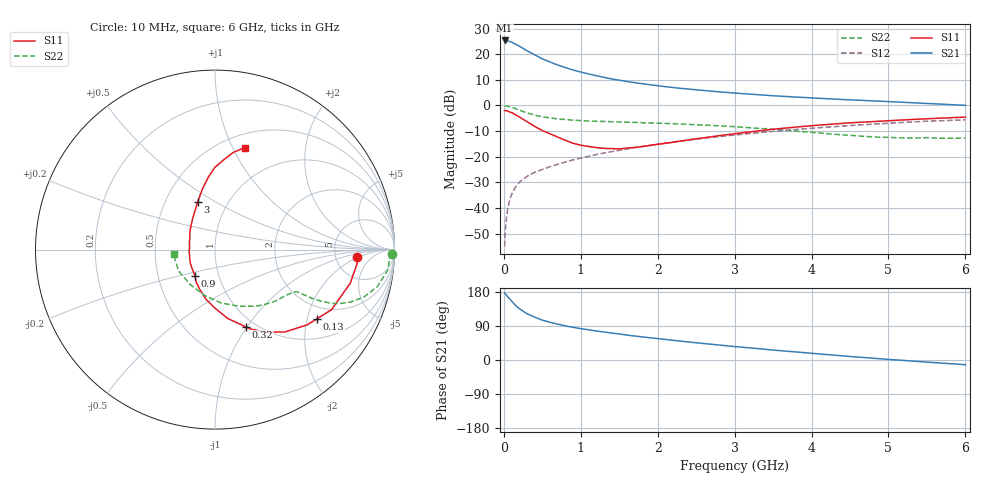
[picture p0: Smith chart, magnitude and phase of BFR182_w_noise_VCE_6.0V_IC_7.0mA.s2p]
! Infineon Technologies  Discrete & RF Semiconductors
! BFR182
! VCE =  6.0 V,  IC =  7.0 mA
! Common Emitter S-Parameters:  Nov 2015
# GHz  S  MA  R  50
!  f  S11  S21  S12  S22
! GHz  MAG  ANG  MAG  ANG  MAG  ANG  MAG  ANG
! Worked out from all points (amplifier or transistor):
!   210 points, 10 MHz to 6 GHz, reference 50 ohm
!   highest |S21| = 25.4 dB at 10 MHz (marker M1)
!   |S21| within 3 dB of that: start of sweep to 243.9 MHz
!   unconditionally stable (mu >= 1): 954.1 MHz to 2.833 GHz
!   at 185 MHz: K = 0.41, MSG = 27.0 dB, |S12| = -30.6 dB
!   at 1.52 GHz: K = 1.05, MAG = 12.2 dB, |S12| = -17.4 dB
!   at 6 GHz: K = 0.89, MSG = 2.8 dB, |S12| = -5.6 dB
!   lowest NFmin = 1.30 dB at 450 MHz
!   S11 on the Smith chart (normalised r, x): 10 MHz: 8.27, -1.72; 130 MHz: 1.58, -2.30; 320 MHz: 0.90, -0.99; 900 MHz: 0.77, -0.23; 3 GHz: 0.72, +0.41; 6 GHz: 0.64, +1.11
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0.01  0.7925 -2.8  18.52 177.1  0.0018 88.1  0.9866 -1.3
0.025  0.7915 -7.0  18.26 173.2  0.0047 84.9  0.9735 -3.4
0.05  0.7764 -14.0  18.27 167.1  0.0095 80.0  0.9695 -6.8
0.1  0.7305 -27.3  17.23 155.5  0.0183 76.2  0.9275 -12.9
0.13  0.6868 -34.1  16.31 149.0  0.0225 73.4  0.8933 -15.6
0.15  0.6636 -39.1  15.82 144.2  0.0253 72.0  0.8717 -17.6
0.2  0.6018 -49.7  14.46 135.6  0.0315 68.3  0.813 -21.0
0.26  0.529 -59.6  12.67 127.2  0.0374 65.4  0.7516 -23.6
0.3  0.485 -65.9  11.66 122.1  0.0412 65.3  0.7184 -24.7
0.32  0.4641 -68.2  11.25 120.5  0.0429 65.0  0.7043 -25.0
0.4  0.3898 -79.6  9.706 112.8  0.0495 64.0  0.6481 -26.1
0.5  0.3243 -90.4  8.114 105.1  0.0564 63.8  0.5996 -26.7
0.7  0.2412 -109.9  6.146 94.4  0.0713 64.4  0.5467 -27.0
0.9  0.1831 -127.9  4.909 86.1  0.0868 64.8  0.5164 -27.2
1.02  0.1658 -140.0  4.407 82.2  0.0955 65.2  0.5046 -27.8
1.4  0.1444 -177.3  3.29 71.1  0.1253 65.0  0.4818 -30.9
2.02  0.1763 141.6  2.398 56.0  0.1778 62.3  0.4505 -38.1
3  0.2808 110.3  1.745 35.5  0.2656 54.9  0.3857 -54.8
3.1  0.2928 108.3  1.702 33.8  0.2748 53.8  0.376 -57.0
4.1  0.4137 94.3  1.377 16.0  0.3682 43.7  0.2902 -86.6
5.1  0.5139 83.2  1.171 0.2  0.459 31.7  0.2346 -129.9
6  0.5922 73.8  1.005 -12.5  0.5243 19.3  0.2324 -173.7
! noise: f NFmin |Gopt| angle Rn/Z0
0.45  1.3  0.26  40  0.29
0.9  1.45  0.25  81  0.23
1.8  2  0.21  157  0.2
